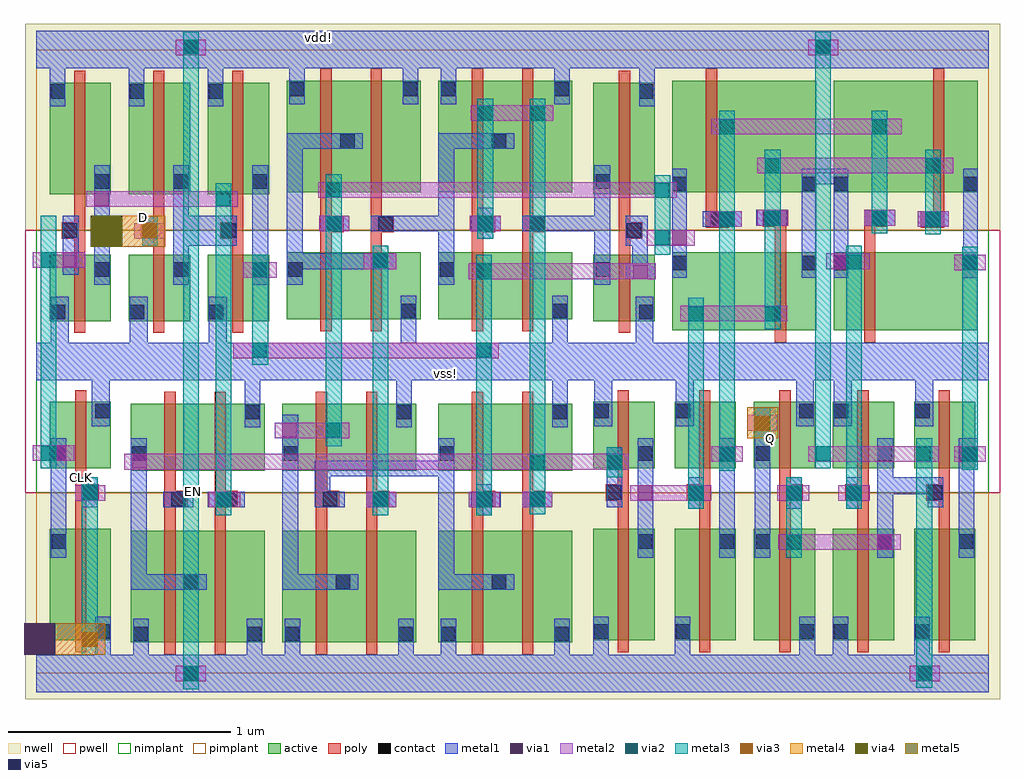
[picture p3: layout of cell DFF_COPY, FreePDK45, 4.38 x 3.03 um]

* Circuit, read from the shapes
.subckt DFF_COPY CLK D EN Q vdd! vss!
M1 NAND2_6/B BUFFER_0/INVD1_0/vi vss! VSUBS nfet w=0.3u l=0.05u
M2 vss! CLK BUFFER_0/INVD1_0/vi VSUBS nfet w=0.3u l=0.05u
M3 INVD1_4/vi D vss! VSUBS nfet w=0.3u l=0.05u
M4 n1 EN LATCH_D_5/EN VSUBS nfet w=0.3u l=0.05u
M5 vss! NAND2_6/B n1 VSUBS nfet w=0.3u l=0.05u
M6 LATCH_D_5/D INVD1_4/vi vss! VSUBS nfet w=0.3u l=0.05u
M7 n2 LATCH_D_5/NAND2_2/A LATCH_S_1/D VSUBS nfet w=0.3u l=0.05u
M8 n3 LATCH_S_1/D LATCH_D_5/Q_BAR VSUBS nfet w=0.3u l=0.05u
M9 vss! LATCH_D_5/Q_BAR n2 VSUBS nfet w=0.3u l=0.05u
M10 vss! LATCH_D_5/NAND2_0/B n3 VSUBS nfet w=0.3u l=0.05u
M11 n4 LATCH_D_5/D LATCH_D_5/NAND2_2/A VSUBS nfet w=0.3u l=0.05u
M12 n5 LATCH_D_5/EN LATCH_D_5/NAND2_0/B VSUBS nfet w=0.3u l=0.05u
M13 vss! LATCH_D_5/EN n4 VSUBS nfet w=0.3u l=0.05u
M14 vss! LATCH_D_5/NAND2_1/B n5 VSUBS nfet w=0.3u l=0.05u
M15 LATCH_S_1/S LATCH_D_5/EN vss! VSUBS nfet w=0.3u l=0.05u
M16 vss! LATCH_D_5/D LATCH_D_5/NAND2_1/B VSUBS nfet w=0.3u l=0.05u
M17 LATCH_S_1/TGATE_0/EN_N LATCH_S_1/S vss! VSUBS nfet w=0.3u l=0.05u
M18 LATCH_S_1/TGATE_0/Out LATCH_S_1/S LATCH_S_1/D VSUBS nfet w=0.35u l=0.05u
M19 vss! LATCH_S_1/INVD1_3/vi Q VSUBS nfet w=0.3u l=0.05u
M20 LATCH_S_1/INVD1_3/vi LATCH_S_1/TGATE_0/Out vss! VSUBS nfet w=0.3u l=0.05u
M21 LATCH_S_1/TGATE_0/In LATCH_S_1/TGATE_0/EN_N LATCH_S_1/TGATE_0/Out VSUBS nfet w=0.35u l=0.05u
M22 LATCH_S_1/TGATE_0/In LATCH_S_1/INVD1_3/vi vss! VSUBS nfet w=0.3u l=0.05u
M23 NAND2_6/B BUFFER_0/INVD1_0/vi vdd! n6 pfet w=0.5u l=0.05u
M24 vdd! CLK BUFFER_0/INVD1_0/vi n7 pfet w=0.5u l=0.05u
M25 INVD1_4/vi D vdd! n6 pfet w=0.5u l=0.05u
M26 LATCH_D_5/EN EN vdd! n7 pfet w=0.5u l=0.05u
M27 vdd! NAND2_6/B LATCH_D_5/EN n7 pfet w=0.5u l=0.05u
M28 LATCH_D_5/D INVD1_4/vi vdd! n6 pfet w=0.5u l=0.05u
M29 LATCH_S_1/D LATCH_D_5/NAND2_2/A vdd! n7 pfet w=0.5u l=0.05u
M30 LATCH_D_5/Q_BAR LATCH_S_1/D vdd! n6 pfet w=0.5u l=0.05u
M31 vdd! LATCH_D_5/Q_BAR LATCH_S_1/D n7 pfet w=0.5u l=0.05u
M32 vdd! LATCH_D_5/NAND2_0/B LATCH_D_5/Q_BAR n6 pfet w=0.5u l=0.05u
M33 LATCH_D_5/NAND2_2/A LATCH_D_5/D vdd! n7 pfet w=0.5u l=0.05u
M34 LATCH_D_5/NAND2_0/B LATCH_D_5/EN vdd! n6 pfet w=0.5u l=0.05u
M35 vdd! LATCH_D_5/EN LATCH_D_5/NAND2_2/A n7 pfet w=0.5u l=0.05u
M36 vdd! LATCH_D_5/NAND2_1/B LATCH_D_5/NAND2_0/B n6 pfet w=0.5u l=0.05u
M37 LATCH_S_1/S LATCH_D_5/EN vdd! n7 pfet w=0.5u l=0.05u
M38 vdd! LATCH_D_5/D LATCH_D_5/NAND2_1/B n6 pfet w=0.5u l=0.05u
M39 LATCH_S_1/TGATE_0/EN_N LATCH_S_1/S vdd! n7 pfet w=0.5u l=0.05u
M40 LATCH_S_1/TGATE_0/Out LATCH_S_1/TGATE_0/EN_N LATCH_S_1/D n6 pfet w=0.5u l=0.05u
M41 vdd! LATCH_S_1/INVD1_3/vi Q n7 pfet w=0.5u l=0.05u
M42 LATCH_S_1/INVD1_3/vi LATCH_S_1/TGATE_0/Out vdd! n7 pfet w=0.5u l=0.05u
M43 LATCH_S_1/TGATE_0/In LATCH_S_1/S LATCH_S_1/TGATE_0/Out n6 pfet w=0.5u l=0.05u
M44 LATCH_S_1/TGATE_0/In LATCH_S_1/INVD1_3/vi vdd! n7 pfet w=0.5u l=0.05u
.ends

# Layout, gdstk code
from math import pi, radians
import gdstk
lib = gdstk.Library(unit=1e-6, precision=1e-09)
def R(c, l, rs):  # rectangles x0, y0, x1, y1
    for r in rs: c.add(gdstk.rectangle(r[:2], r[2:], *l))
active = (1, 0)
pwell = (2, 0)
nwell = (3, 0)
nimplant = (4, 0)
pimplant = (5, 0)
poly = (9, 0)
contact = (10, 0)
metal1 = (11, 0)
via1 = (12, 0)
metal2 = (13, 0)
via2 = (14, 0)
metal3 = (15, 0)
via3 = (16, 0)
metal4 = (17, 0)
via4 = (18, 0)
metal5 = (19, 0)
via5 = (20, 0)

invd1 = lib.new_cell('INVD1')
R(invd1, active, [(0.545,-1.465,0.82,-1.165), (0.545,-0.895,0.82,-0.395)])
R(invd1, pwell, [(0.435,-1.76,0.93,-1.055)])
R(invd1, nwell, [(0.435,-1.055,0.93,-0.13)])
R(invd1, nimplant, [(0.485,-1.645,0.88,-1.055)])
R(invd1, pimplant, [(0.485,-1.055,0.88,-0.245)])
R(invd1, poly, [(0.655,-1.515,0.705,-0.34), (0.6,-1.095,0.705,-1.02)])
R(invd1, contact, [(0.55,-1.455,0.615,-1.39), (0.745,-1.265,0.81,-1.2), (0.605,-1.09,0.67,-1.025), (0.745,-0.87,0.81,-0.805), (0.55,-0.465,0.615,-0.4)])
R(invd1, metal1, [(0.485,-1.73,0.88,-1.56), (0.55,-1.64,0.63,-1.355), (0.745,-1.3,0.815,-0.765), (0.605,-1.125,0.675,-0.99), (0.545,-0.5,0.615,-0.33), (0.485,-0.33,0.88,-0.16)])
invd1.add(gdstk.Label('vo', (0.775,-1.06), layer=11, texttype=0))
invd1.add(gdstk.Label('vi', (0.635,-1.045), layer=11, texttype=0))
invd1.add(gdstk.Label('vss!', (0.68,-1.705), layer=11, texttype=0))
invd1.add(gdstk.Label('vdd!', (0.675,-0.23), layer=11, texttype=0))

buffer = lib.new_cell('BUFFER')
R(buffer, metal1, [(1.26,2.395,1.33,2.59)])
R(buffer, via1, [(1.21,1.56,1.275,1.625), (1.26,2.43,1.325,2.495)])
R(buffer, metal2, [(1.125,1.56,1.31,1.63), (1.125,2.425,1.36,2.495)])
R(buffer, via2, [(1.16,1.56,1.225,1.625), (1.16,2.425,1.23,2.495)])
R(buffer, metal3, [(1.16,1.525,1.23,2.66)])
buffer.add(gdstk.Reference(invd1, (0.655,3.65)))
buffer.add(gdstk.Reference(invd1, (2.02,0.36), rotation=pi))
buffer.add(gdstk.Label('vss!', (1.33,1.985), layer=11, texttype=0))
buffer.add(gdstk.Label('vdd!', (1.235,3.35), layer=11, texttype=0))
buffer.add(gdstk.Label('OUT', (1.445,2.865), layer=11, texttype=0))
buffer.add(gdstk.Label('IN', (1.415,1.485), layer=11, texttype=0))

tgate = lib.new_cell('TGATE')
R(tgate, active, [(0.315,0.255,0.96,0.605), (0.315,0.875,0.96,1.375)])
R(tgate, pwell, [(0.215,0,1.06,0.705)])
R(tgate, nwell, [(0.215,0.705,1.06,1.63)])
R(tgate, nimplant, [(0.265,0.115,1.01,0.705)])
R(tgate, pimplant, [(0.265,0.705,1.01,1.515)])
R(tgate, poly, [(0.775,0.2,0.825,0.785), (0.465,0.715,0.57,0.79), (0.465,0.715,0.515,1.43), (0.72,0.72,0.825,0.795)])
R(tgate, contact, [(0.315,0.525,0.38,0.59), (0.895,0.525,0.96,0.59), (0.485,0.72,0.55,0.785), (0.725,0.725,0.79,0.79), (0.315,0.88,0.38,0.945), (0.895,0.88,0.96,0.945)])
R(tgate, metal1, [(0.265,0.03,1.01,0.2), (0.315,0.49,0.38,0.98), (0.895,0.49,0.96,0.98), (0.45,0.72,0.585,0.79), (0.69,0.725,0.825,0.795), (0.265,1.43,1.01,1.6)])
tgate.add(gdstk.Label('In', (0.35,0.74), layer=11, texttype=0))
tgate.add(gdstk.Label('vss!', (0.61,0.13), layer=11, texttype=0))
tgate.add(gdstk.Label('vdd!', (0.63,1.505), layer=11, texttype=0))
tgate.add(gdstk.Label('EN_N', (0.755,0.76), layer=11, texttype=0))
tgate.add(gdstk.Label('EN_P', (0.515,0.755), layer=11, texttype=0))
tgate.add(gdstk.Label('Out', (0.935,0.755), layer=11, texttype=0))

latch_s = lib.new_cell('LATCH_S')
R(latch_s, metal1, [(0.7,-0.54,0.77,-0.4), (1.14,-0.54,1.21,-0.4), (1.41,-0.54,1.48,-0.4), (1.55,-0.475,1.845,-0.4), (1.915,-0.365,2,-0.225), (1.915,-0.365,2,-0.225), (1,-0.32,1.07,-0.09), (1.93,0.495,2,0.635), (1.93,0.53,2,0.6), (0.8,0.725,0.94,0.795), (1.73,0.725,1.87,0.795), (1.01,0.73,1.145,0.8), (1.49,0.73,1.63,0.8), (1.21,0.915,1.42,0.985)])
R(latch_s, via1, [(1.73,-1.31,1.795,-1.245), (1.55,-0.725,1.615,-0.66), (0.7,-0.505,0.765,-0.44), (1.14,-0.505,1.205,-0.44), (1.41,-0.505,1.475,-0.44), (0.84,-0.33,0.905,-0.265), (1.93,-0.33,1.995,-0.265), (1,-0.19,1.065,-0.125), (1.93,0.53,1.995,0.595), (1.355,0.535,1.42,0.6), (0.835,0.725,0.9,0.79), (1.765,0.725,1.83,0.79), (1.045,0.73,1.11,0.795), (1.525,0.73,1.59,0.795), (1.275,1.5,1.34,1.565)])
R(latch_s, metal2, [(1.695,-1.315,1.83,-1.245), (1.375,-0.505,1.515,-0.435), (1.24,-0.33,1.825,-0.26), (1.895,-0.33,2.035,-0.26), (0.965,-0.19,1.1,-0.12), (1.895,0.53,2.035,0.6), (1.32,0.535,1.515,0.605), (1.24,1.495,1.375,1.565)])
R(latch_s, via2, [(1.73,-1.31,1.795,-1.245), (1.14,-0.725,1.205,-0.66), (0.7,-0.505,0.765,-0.44), (1.14,-0.505,1.205,-0.44), (1.41,-0.505,1.475,-0.44), (0.84,-0.33,0.905,-0.265), (1.93,-0.33,1.995,-0.265), (1.275,-0.325,1.34,-0.26), (1.725,-0.325,1.79,-0.26), (1,-0.19,1.065,-0.125), (0.7,0.3,0.765,0.365), (1.045,0.3,1.11,0.365), (1.93,0.53,1.995,0.595), (1.41,0.535,1.475,0.6), (0.84,0.725,0.905,0.79), (1.765,0.725,1.83,0.79), (1.045,0.73,1.11,0.795), (1.525,0.73,1.59,0.795), (1.045,0.965,1.11,1.03), (1.765,0.965,1.83,1.03), (0.84,1.14,0.905,1.205), (1.525,1.14,1.59,1.205), (1.275,1.5,1.34,1.565)])
R(latch_s, metal3, [(1.725,-1.345,1.795,-0.225), (1.41,-0.54,1.48,0.64), (1.93,-0.365,2,0.635), (1.27,-0.36,1.34,1.6), (1,-0.225,1.07,-0.09)])
R(latch_s, via3, [(1,-0.19,1.065,-0.125)])
R(latch_s, metal4, [(0.965,-0.225,1.105,-0.085)])
latch_s.add(gdstk.FlexPath([(1.87,0.76),(1.73,0.76)], 0.07, ends="flush", simple_path=True, layer=13, datatype=0))  # metal2
latch_s.add(gdstk.FlexPath([(1.01,1),(1.89,1)], 0.07, ends="flush", simple_path=True, layer=13, datatype=0))  # metal2
latch_s.add(gdstk.FlexPath([(1.63,0.765),(1.49,0.765)], 0.07, ends="flush", simple_path=True, layer=13, datatype=0))  # metal2
latch_s.add(gdstk.FlexPath([(0.805,1.175),(1.66,1.175)], 0.07, ends="flush", simple_path=True, layer=13, datatype=0))  # metal2
latch_s.add(gdstk.FlexPath([(1.15,0.765),(1.01,0.765)], 0.07, ends="flush", simple_path=True, layer=13, datatype=0))  # metal2
latch_s.add(gdstk.FlexPath([(0.665,0.335),(1.145,0.335)], 0.07, ends="flush", simple_path=True, layer=13, datatype=0))  # metal2
latch_s.add(gdstk.FlexPath([(0.805,-0.47),(0.665,-0.47)], 0.07, ends="flush", simple_path=True, layer=13, datatype=0))  # metal2
latch_s.add(gdstk.FlexPath([(0.94,0.76),(0.8,0.76)], 0.07, ends="flush", simple_path=True, layer=13, datatype=0))  # metal2
latch_s.add(gdstk.FlexPath([(0.945,-0.295),(0.805,-0.295)], 0.07, ends="flush", simple_path=True, layer=13, datatype=0))  # metal2
latch_s.add(gdstk.FlexPath([(1.1,-0.47),(1.245,-0.47)], 0.07, ends="flush", simple_path=True, layer=13, datatype=0))  # metal2
latch_s.add(gdstk.FlexPath([(1.655,-0.69),(1.105,-0.69)], 0.07, ends="flush", simple_path=True, layer=13, datatype=0))  # metal2
latch_s.add(gdstk.FlexPath([(1.8,1.07),(1.8,0.69)], 0.07, ends="flush", simple_path=True, layer=15, datatype=0))  # metal3
latch_s.add(gdstk.FlexPath([(1.56,1.245),(1.56,0.695)], 0.07, ends="flush", simple_path=True, layer=15, datatype=0))  # metal3
latch_s.add(gdstk.FlexPath([(1.08,0.265),(1.08,1.07)], 0.07, ends="flush", simple_path=True, layer=15, datatype=0))  # metal3
latch_s.add(gdstk.FlexPath([(0.735,-0.54),(0.735,0.405)], 0.07, ends="flush", simple_path=True, layer=15, datatype=0))  # metal3
latch_s.add(gdstk.FlexPath([(0.875,-0.37),(0.875,1.245)], 0.07, ends="flush", simple_path=True, layer=15, datatype=0))  # metal3
latch_s.add(gdstk.FlexPath([(1.175,-0.76),(1.175,-0.4)], 0.07, ends="flush", simple_path=True, layer=15, datatype=0))  # metal3
latch_s.add(gdstk.Reference(tgate, (2.315,0.005), rotation=pi, x_reflection=True))
latch_s.add(gdstk.Reference(tgate, (0.315,0.005)))
latch_s.add(gdstk.Reference(invd1, (0.095,-1.525), x_reflection=True))
latch_s.add(gdstk.Reference(invd1, (1.17,-1.525), x_reflection=True))
latch_s.add(gdstk.Reference(invd1, (0.805,-1.525), x_reflection=True))
latch_s.add(gdstk.Reference(invd1, (1.815,-1.525), rotation=pi))
latch_s.add(gdstk.Label('vss!', (1.095,0.075), layer=11, texttype=0))
latch_s.add(gdstk.Label('vdd!', (1.95,1.56), layer=11, texttype=0))
latch_s.add(gdstk.Label('S', (0.73,-0.46), layer=11, texttype=0))
latch_s.add(gdstk.Label('Q', (1.035,-0.56), layer=11, texttype=0))
latch_s.add(gdstk.Label('D', (0.665,0.83), layer=11, texttype=0))

nand2 = lib.new_cell('NAND2')
R(nand2, active, [(0.26,0.295,0.86,0.595), (0.26,0.865,0.86,1.365)])
R(nand2, pwell, [(0.16,-0.01,0.96,0.695)])
R(nand2, nwell, [(0.16,0.695,0.96,1.62)])
R(nand2, nimplant, [(0.21,0.105,0.91,0.695)])
R(nand2, pimplant, [(0.21,0.695,0.91,1.505)])
R(nand2, poly, [(0.41,0.24,0.46,1.42), (0.635,0.24,0.685,1.42), (0.41,0.685,0.515,0.76), (0.635,0.685,0.74,0.76)])
R(nand2, contact, [(0.77,0.3,0.835,0.365), (0.265,0.485,0.33,0.55), (0.44,0.69,0.505,0.755), (0.67,0.69,0.735,0.755), (0.5,1.06,0.565,1.125), (0.27,1.295,0.335,1.36), (0.78,1.295,0.845,1.36)])
R(nand2, metal1, [(0.21,0.02,0.91,0.19), (0.77,0.15,0.84,0.4), (0.26,0.45,0.33,1.13), (0.405,0.69,0.54,0.76), (0.635,0.69,0.77,0.76), (0.265,1.06,0.6,1.13), (0.27,1.26,0.34,1.46), (0.78,1.26,0.85,1.465), (0.21,1.42,0.91,1.59)])
nand2.add(gdstk.Label('Z', (0.295,0.605), layer=11, texttype=0))
nand2.add(gdstk.Label('B', (0.73,0.725), layer=11, texttype=0))
nand2.add(gdstk.Label('A', (0.515,0.725), layer=11, texttype=0))
nand2.add(gdstk.Label('vss!', (0.555,0.12), layer=11, texttype=0))
nand2.add(gdstk.Label('vdd!', (0.575,1.495), layer=11, texttype=0))

metal1_3 = lib.new_cell('metal1_3')
R(metal1_3, via1, [(0.04,0.005,0.11,0.075)])
R(metal1_3, metal2, [(0.005,0.005,0.145,0.075)])
R(metal1_3, via2, [(0.04,0.005,0.11,0.075)])
R(metal1_3, metal3, [(0.04,-0.03,0.11,0.11)])

metal2_3 = lib.new_cell('metal2_3')
R(metal2_3, metal2, [(0.215,0.05,0.355,0.12)])
R(metal2_3, via2, [(0.25,0.05,0.32,0.12)])
R(metal2_3, metal3, [(0.25,0.01,0.32,0.16)])

latch_d = lib.new_cell('LATCH_D')
R(latch_d, metal1, [(1.24,0.82,1.31,0.96), (0.545,0.855,0.615,1.14), (0.72,0.855,1.11,0.925), (1.205,0.855,1.34,0.925), (1.415,0.855,1.79,0.925), (1.675,1.025,2.165,1.095), (0.51,1.07,0.645,1.14), (2.115,1.75,2.185,1.88), (1.415,1.955,2.04,2.025), (1.97,1.955,2.04,2.165), (1.245,2.06,1.315,2.2)])
R(latch_d, via1, [(1.92,0.86,1.985,0.925), (1.715,1.025,1.78,1.09), (0.545,1.075,0.61,1.14), (2.12,1.785,2.185,1.85), (1.01,2.095,1.075,2.16), (1.71,2.095,1.775,2.16)])
R(latch_d, metal2, [(0.97,0.36,1.34,0.43), (1.885,0.855,2.02,0.925), (1.675,1.025,1.82,1.095), (0.51,1.07,1.35,1.14), (1.885,1.785,2.22,1.855), (0.975,2.095,1.11,2.165), (1.675,2.095,1.81,2.165)])
R(latch_d, via2, [(1.005,0.365,1.07,0.43), (1.24,0.365,1.305,0.43), (1.92,0.86,1.985,0.925), (1.715,1.025,1.78,1.09), (1.925,1.785,1.99,1.85), (1.01,2.095,1.075,2.16), (1.71,2.095,1.775,2.16)])
R(latch_d, metal3, [(1.005,0.33,1.075,2.195), (1.24,0.33,1.31,0.925), (1.92,0.82,1.99,1.89), (1.71,0.99,1.78,2.2), (1.245,1.03,1.315,2.165)])
latch_d.add(gdstk.Reference(nand2, (2.425,1.615), rotation=pi))
latch_d.add(gdstk.Reference(nand2, (1.745,1.615), rotation=pi))
latch_d.add(gdstk.Reference(nand2, (2.445,1.405), rotation=pi, x_reflection=True))
latch_d.add(gdstk.Reference(nand2, (1.745,1.405), rotation=pi, x_reflection=True))
latch_d.add(gdstk.Reference(invd1, (-0.03,-0.135), x_reflection=True))
latch_d.add(gdstk.Reference(metal1_3, (1.205,2.09)))
latch_d.add(gdstk.Reference(metal1_3, (1.2,0.85)))
latch_d.add(gdstk.Reference(metal2_3, (0.995,1.02)))
latch_d.add(gdstk.Label('Q_BAR', (2.12,0.795), layer=11, texttype=0))
latch_d.add(gdstk.Label('vdd!', (2.045,2.92), layer=11, texttype=0))
latch_d.add(gdstk.Label('vss!', (2.17,1.495), layer=11, texttype=0))
latch_d.add(gdstk.Label('Q', (1.95,1.75), layer=15, texttype=0))
latch_d.add(gdstk.Label('EN', (1.04,1.67), layer=15, texttype=0))
latch_d.add(gdstk.Label('D', (1.285,1.69), layer=15, texttype=0))

dff_copy = lib.new_cell('DFF_COPY')
R(dff_copy, metal1, [(2.33,2.375,2.36,2.445), (4.12,2.51,4.19,2.645), (2.175,3.55,2.435,3.685)])
R(dff_copy, via1, [(2.22,1.6,2.285,1.665), (2.37,2.375,2.435,2.44), (1.77,2.41,1.835,2.475), (1.77,2.41,1.835,2.475), (4.26,2.41,4.325,2.475), (4.12,2.545,4.185,2.61), (1.99,2.55,2.055,2.615), (2.53,3.41,2.595,3.475), (4.415,3.555,4.48,3.62), (2.035,3.585,2.1,3.65), (1.82,3.73,1.885,3.795), (2.22,4.41,2.285,4.475)])
R(dff_copy, metal2, [(2.185,1.595,2.32,1.665), (2.335,2.375,2.475,2.445), (1.735,2.405,1.87,2.475), (4.225,2.405,4.45,2.475), (1.955,2.545,4.22,2.615), (2.445,3.045,3.635,3.115), (2.49,3.405,2.64,3.475), (4.3,3.55,4.515,3.62), (2,3.58,2.135,3.65), (1.785,3.725,2.465,3.795), (2.825,3.765,4.435,3.835), (2.185,4.405,2.32,4.475)])
R(dff_copy, via2, [(2.22,1.595,2.285,1.66), (2.37,2.375,2.435,2.44), (1.77,2.41,1.835,2.475), (3.775,2.545,3.84,2.61), (4.12,2.545,4.185,2.61), (2.53,3.05,2.595,3.115), (3.535,3.05,3.6,3.115), (2.53,3.41,2.595,3.475), (4.335,3.555,4.4,3.62), (2.035,3.585,2.1,3.65), (2.365,3.73,2.43,3.795), (4.335,3.765,4.4,3.83), (2.86,3.77,2.925,3.835), (2.22,4.41,2.285,4.475)])
R(dff_copy, metal3, [(2.22,1.56,2.29,4.51), (1.765,1.715,1.835,2.51), (2.365,2.34,2.435,3.83), (4.12,2.51,4.19,2.645), (2.53,3.015,2.6,3.51), (4.335,3.51,4.405,3.865), (2.035,3.55,2.105,3.685), (2.86,3.72,2.93,3.87)])
R(dff_copy, via3, [(1.765,1.75,1.835,1.815), (2.035,3.585,2.1,3.65)])
R(dff_copy, metal4, [(1.505,1.715,1.87,1.855), (1.805,3.545,2.14,3.685)])
R(dff_copy, via4, [(1.505,1.715,1.645,1.855), (1.805,3.545,1.945,3.685)])
R(dff_copy, metal5, [(1.505,1.715,1.645,1.855)])
R(dff_copy, via5, [(1.505,1.715,1.645,1.855)])
dff_copy.add(gdstk.Reference(buffer, (0.42,1.025)))
dff_copy.add(gdstk.Reference(latch_s, (3.785,2.91)))
dff_copy.add(gdstk.Reference(invd1, (3.515,1.385), x_reflection=True))
dff_copy.add(gdstk.Reference(invd1, (1.43,4.675)))
dff_copy.add(gdstk.Reference(invd1, (1.785,4.675)))
dff_copy.add(gdstk.Reference(latch_d, (4.85,4.54), rotation=pi))
dff_copy.add(gdstk.Reference(nand2, (1.725,3.135), x_reflection=True))
dff_copy.add(gdstk.Label('vss!', (3.395,2.975), layer=11, texttype=0))
dff_copy.add(gdstk.Label('vdd!', (2.825,4.485), layer=11, texttype=0))
dff_copy.add(gdstk.Label('Q', (4.855,2.685), layer=11, texttype=0))
dff_copy.add(gdstk.Label('D', (2.04,3.675), layer=11, texttype=0))
dff_copy.add(gdstk.Label('CLK', (1.765,2.51), layer=11, texttype=0))
dff_copy.add(gdstk.Label('EN', (2.265,2.445), layer=11, texttype=0))

lib.write_gds('DFF_COPY.gds')
